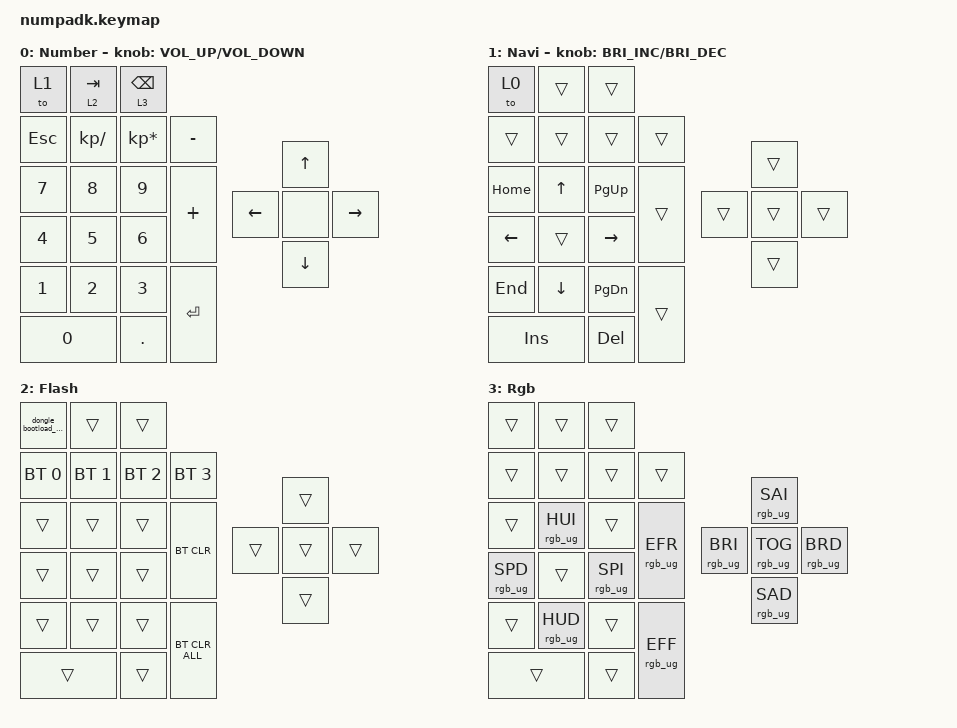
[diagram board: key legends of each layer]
/*
 * Copyright (c) 2021 The ZMK Contributors
 *
 * SPDX-License-Identifier: MIT
 */

#include <behaviors.dtsi>
#include <dt-bindings/zmk/bt.h>
#include <dt-bindings/zmk/keys.h>
#include <dt-bindings/zmk/rgb.h>

/*

   &mmv_input_listener {
       input-processors = <&zip_xy_scaler 2 1>;
   };

   &msc_input_listener {
       input-processors = <&zip_xy_scaler 2 1>;
   };

 */

#define ZMK_MOUSE_DEFAULT_MOVE_VAL 1200  // 600
#define ZMK_MOUSE_DEFAULT_SCRL_VAL 20    // 10

/ {
    combos { compatible = "zmk,combos"; };

    macros {
        dongle_bootload_macro: bootload_macro {
            compatible = "zmk,behavior-macro";
            #binding-cells = <0>;
            bindings = <&bootloader>;
            label = "BOOTLOAD_MACRO";
        };
    };

    behaviors {
        hm: homerow_mods {
            compatible = "zmk,behavior-hold-tap";
            label = "HOMEROW_MODS";
            bindings = <&kp>, <&kp>;

            #binding-cells = <2>;
            tapping-term-ms = <200>;
            quick-tap-ms = <180>;
            flavor = "tap-preferred";
        };

        ltq: ltq {
            compatible = "zmk,behavior-hold-tap";
            label = "LTQ";
            bindings = <&mo>, <&kp>;

            #binding-cells = <2>;
            tapping-term-ms = <200>;
            quick-tap-ms = <180>;
        };

        as: auto_shift {
            compatible = "zmk,behavior-hold-tap";
            label = "AUTO_SHIFT";
            bindings = <&kp>, <&kp>;

            #binding-cells = <2>;
            tapping-term-ms = <135>;
            quick-tap-ms = <0>;
        };
    };

    keymap {
        compatible = "zmk,keymap";

        Number {
            bindings = <
&to 1       &ltq 2 TAB     &ltq 3 BACKSPACE                         &kp UP_ARROW
&kp ESCAPE  &kp KP_DIVIDE  &kp KP_MULTIPLY   &kp MINUS              &kp LEFT_ARROW
&kp N7      &kp N8         &kp N9            &kp PLUS               &kp DOWN_ARROW
&kp N4      &kp N5         &kp N6            &kp ENTER              &kp RIGHT_ARROW
&kp N1      &kp N2         &kp N3            &kp N0     &kp PERIOD  &none
            >;

            sensor-bindings = <&inc_dec_kp C_VOLUME_UP C_VOLUME_DOWN>;
            label = "Number";
        };

        Navi {
            bindings = <
&to 0           &trans          &trans                                   &trans
&trans          &trans          &trans           &trans                  &trans
&kp HOME        &kp UP_ARROW    &kp PAGE_UP      &trans                  &trans
&kp LEFT_ARROW  &trans          &kp RIGHT_ARROW  &trans                  &trans
&kp END         &kp DOWN_ARROW  &kp PAGE_DOWN    &kp INSERT  &kp DELETE  &trans
            >;

            label = "Navi";
            sensor-bindings = <&inc_dec_kp C_BRIGHTNESS_INC C_BRIGHTNESS_DEC>;
        };

        Flash {
            bindings = <
&dongle_bootload_macro  &trans        &trans                                &trans
&bt BT_SEL 0            &bt BT_SEL 1  &bt BT_SEL 2  &bt BT_SEL 3            &trans
&trans                  &trans        &trans        &bt BT_CLR              &trans
&trans                  &trans        &trans        &bt BT_CLR_ALL          &trans
&trans                  &trans        &trans        &trans          &trans  &trans
            >;

            label = "Flash";
        };

        Rgb {
            bindings = <
&trans           &trans           &trans                                    &rgb_ug RGB_SAI
&trans           &trans           &trans           &trans                   &rgb_ug RGB_BRI
&trans           &rgb_ug RGB_HUI  &trans           &rgb_ug RGB_EFR          &rgb_ug RGB_SAD
&rgb_ug RGB_SPD  &trans           &rgb_ug RGB_SPI  &rgb_ug RGB_EFF          &rgb_ug RGB_BRD
&trans           &rgb_ug RGB_HUD  &trans           &trans           &trans  &rgb_ug RGB_TOG
            >;

            label = "Rgb";
        };
    };
};
